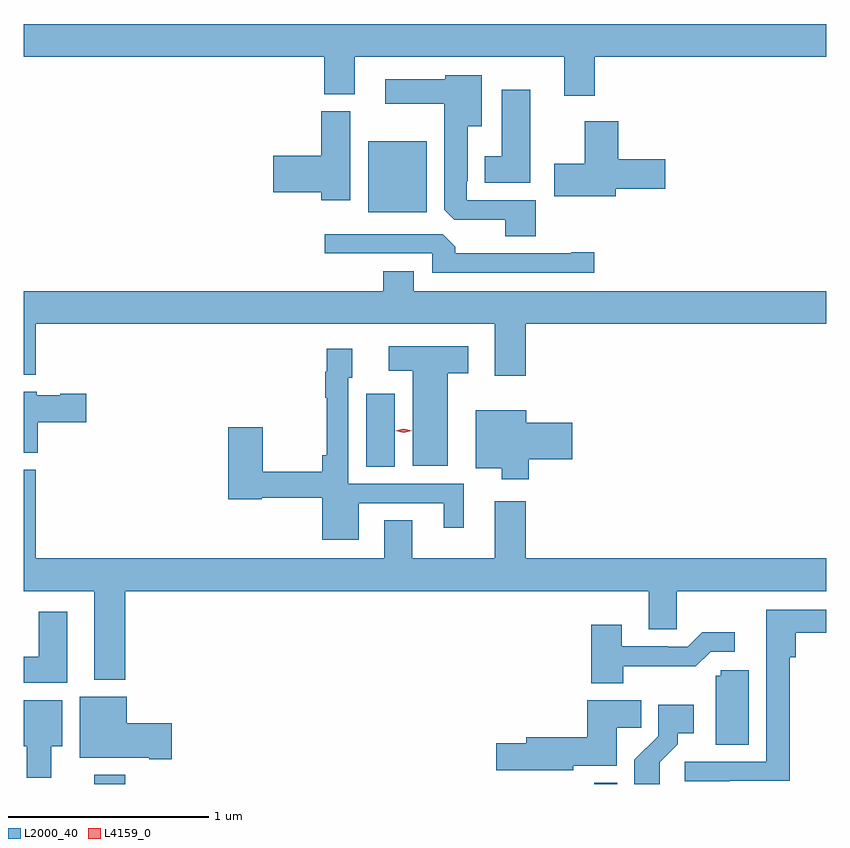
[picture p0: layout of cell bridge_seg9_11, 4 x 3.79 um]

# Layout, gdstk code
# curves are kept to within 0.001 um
import gdstk
lib = gdstk.Library(unit=1e-6, precision=1e-09)
def R(c, l, rs):  # rectangles x0, y0, x1, y1
    for r in rs: c.add(gdstk.rectangle(r[:2], r[2:], *l))
def P(c, l, *ps):  # polygons
    for p in ps: c.add(gdstk.Polygon(p, *l))
L2000_40 = (2000, 40)
L4159_0 = (4159, 0)

bridge_seg9_11 = lib.new_cell('bridge_seg9_11')
R(bridge_seg9_11, L2000_40, [(1000.493,1232.754,1000.646,1232.8), (1002.985,1232.754,1003.101,1232.761), (1001.849,1234.336,1001.992,1234.699), (1001.858,1235.606,1002.151,1235.959)])
P(bridge_seg9_11, L2000_40, [(1002.989,1236.38),(1004.142,1236.38),(1004.142,1236.544),(1000.142,1236.544),(1000.142,1236.38),(1001.639,1236.38),(1001.639,1236.193),(1001.791,1236.193),(1001.791,1236.38),(1002.836,1236.38),(1002.836,1236.186),(1002.989,1236.186)],
  [(1002.695,1235.664),(1002.351,1235.664),(1002.351,1235.761),(1002.355,1235.761),(1002.355,1236.035),(1002.424,1236.035),(1002.424,1236.289),(1002.243,1236.289),(1002.243,1236.268),(1001.943,1236.268),(1001.943,1236.146),(1002.239,1236.146),(1002.239,1235.617),(1002.288,1235.568),(1002.542,1235.568),(1002.542,1235.485),(1002.695,1235.485)],
  [(1002.667,1236.217),(1002.524,1236.217),(1002.524,1235.884),(1002.44,1235.884),(1002.44,1235.753),(1002.667,1235.753)],
  [(1001.77,1236.108),(1001.624,1236.108),(1001.624,1235.888),(1001.385,1235.888),(1001.385,1235.705),(1001.624,1235.705),(1001.624,1235.664),(1001.77,1235.664)],
  [(1003.093,1235.723),(1003.339,1235.723),(1003.339,1235.87),(1003.106,1235.87),(1003.106,1236.058),(1002.938,1236.058),(1002.938,1235.847),(1002.786,1235.847),(1002.786,1235.684),(1003.093,1235.684)],
  [(1002.985,1235.405),(1002.872,1235.405),(1002.872,1235.4),(1002.293,1235.4),(1002.293,1235.434),(1002.231,1235.496),(1001.643,1235.496),(1001.643,1235.4),(1002.177,1235.4),(1002.177,1235.304),(1002.985,1235.304)],
  [(1002.644,1235.048),(1004.142,1235.048),(1004.142,1235.212),(1002.085,1235.212),(1002.085,1235.311),(1001.933,1235.311),(1001.933,1235.212),(1000.142,1235.212),(1000.142,1234.796),(1000.202,1234.796),(1000.202,1235.048),(1002.491,1235.048),(1002.491,1234.791),(1002.644,1234.791)],
  [(1002.256,1234.802),(1002.358,1234.802),(1002.358,1234.936),(1001.961,1234.936),(1001.961,1234.814),(1002.08,1234.814),(1002.08,1234.34),(1002.256,1234.34)],
  [(1001.812,1234.155),(1002.236,1234.155),(1002.236,1234.032),(1002.334,1234.032),(1002.334,1234.251),(1001.76,1234.251),(1001.76,1234.779),(1001.779,1234.779),(1001.779,1234.924),(1001.652,1234.924),(1001.652,1234.811),(1001.644,1234.811),(1001.644,1234.679),(1001.652,1234.679),(1001.652,1234.393),(1001.63,1234.393),(1001.63,1234.31),(1001.332,1234.31),(1001.332,1234.534),(1001.162,1234.534),(1001.162,1234.174),(1001.328,1234.174),(1001.328,1234.182),(1001.63,1234.182),(1001.63,1233.971),(1001.812,1233.971)],
  [(1000.21,1234.559),(1000.453,1234.559),(1000.453,1234.701),(1000.323,1234.701),(1000.323,1234.693),(1000.206,1234.693),(1000.206,1234.711),(1000.142,1234.711),(1000.142,1234.406),(1000.21,1234.406)],
  [(1002.659,1234.373),(1002.877,1234.373),(1002.877,1234.556),(1002.646,1234.556),(1002.646,1234.618),(1002.395,1234.618),(1002.395,1234.328),(1002.524,1234.328),(1002.524,1234.274),(1002.659,1234.274)],
  [(1000.646,1233.716),(1003.259,1233.716),(1003.259,1233.526),(1003.398,1233.526),(1003.398,1233.716),(1004.142,1233.716),(1004.142,1233.88),(1002.644,1233.88),(1002.644,1234.165),(1002.491,1234.165),(1002.491,1233.88),(1002.079,1233.88),(1002.079,1234.07),(1001.939,1234.07),(1001.939,1233.88),(1000.202,1233.88),(1000.202,1234.321),(1000.142,1234.321),(1000.142,1233.716),(1000.493,1233.716),(1000.493,1233.275),(1000.646,1233.275)],
  [(1003.661,1232.769),(1003.961,1232.769),(1003.961,1233.386),(1003.991,1233.386),(1003.991,1233.508),(1004.142,1233.508),(1004.142,1233.624),(1003.844,1233.624),(1003.844,1233.39),(1003.845,1233.39),(1003.845,1232.865),(1003.437,1232.865),(1003.437,1232.767),(1003.661,1232.767)],
  [(1000.357,1233.613),(1000.217,1233.613),(1000.217,1233.388),(1000.142,1233.388),(1000.142,1233.26),(1000.357,1233.26)],
  [(1003.131,1233.342),(1003.493,1233.341),(1003.566,1233.414),(1003.687,1233.414),(1003.687,1233.511),(1003.525,1233.511),(1003.452,1233.438),(1003.352,1233.438),(1003.352,1233.441),(1003.123,1233.441),(1003.123,1233.547),(1002.971,1233.547),(1002.971,1233.257),(1003.131,1233.257)],
  [(1003.756,1233.321),(1003.617,1233.321),(1003.617,1233.294),(1003.592,1233.294),(1003.592,1232.95),(1003.756,1232.95)],
  [(1000.879,1233.056),(1000.654,1233.056),(1000.654,1233.19),(1000.421,1233.19),(1000.421,1232.885),(1000.766,1232.885),(1000.766,1232.878),(1000.879,1232.878)],
  [(1000.279,1232.942),(1000.333,1232.942),(1000.333,1233.172),(1000.142,1233.172),(1000.142,1232.942),(1000.157,1232.942),(1000.157,1232.784),(1000.279,1232.784)],
  [(1002.882,1232.846),(1003.099,1232.846),(1003.099,1233.034),(1003.22,1233.034),(1003.22,1233.172),(1002.95,1233.172),(1002.95,1232.987),(1002.647,1232.987),(1002.647,1232.957),(1002.498,1232.957),(1002.498,1232.822),(1002.882,1232.822)],
  [(1003.312,1232.863),(1003.402,1232.953),(1003.402,1233.008),(1003.483,1233.008),(1003.483,1233.148),(1003.305,1233.148),(1003.305,1232.993),(1003.186,1232.874),(1003.186,1232.754),(1003.312,1232.754)])
P(bridge_seg9_11, L4159_0, [(1002.035,1234.505),(1001.995,1234.515),(1001.995,1234.515),(1001.995,1234.515),(1002.035,1234.525),(1002.076,1234.515),(1002.076,1234.515),(1002.076,1234.515)])

lib.write_gds('bridge_seg9_11.gds')
